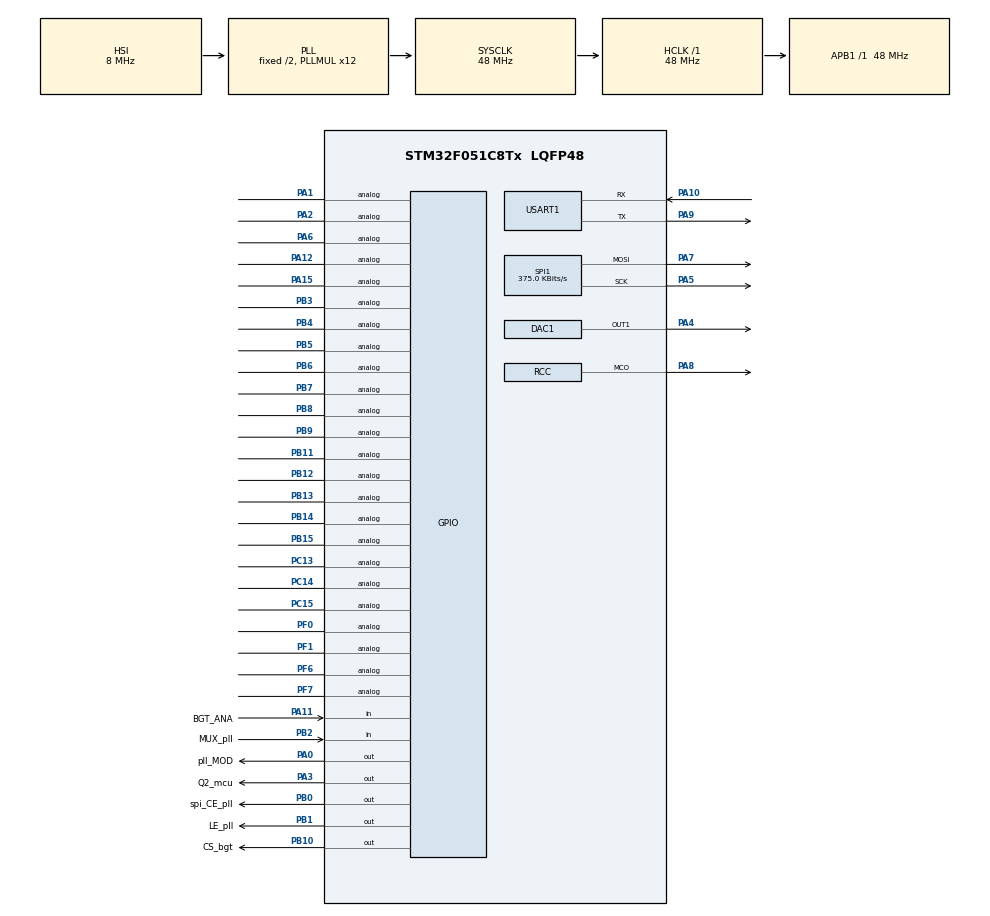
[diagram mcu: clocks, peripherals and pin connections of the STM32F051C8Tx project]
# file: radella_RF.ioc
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DAC1.DAC_Trigger=DAC_TRIGGER_NONE
Dma.Request0=SPI1_TX
Dma.SPI1_TX.0.Direction=DMA_MEMORY_TO_PERIPH
Dma.SPI1_TX.0.Instance=DMA1_Channel3
Dma.SPI1_TX.0.MemDataAlignment=DMA_MDATAALIGN_BYTE
Dma.SPI1_TX.0.MemInc=DMA_MINC_ENABLE
Dma.SPI1_TX.0.Mode=DMA_NORMAL
Dma.SPI1_TX.0.PeriphDataAlignment=DMA_PDATAALIGN_BYTE
Dma.SPI1_TX.0.PeriphInc=DMA_PINC_DISABLE
Dma.SPI1_TX.0.Priority=DMA_PRIORITY_LOW
Mcu.Family=STM32F0
Mcu.Name=STM32F051C8Tx
Mcu.Package=LQFP48
NVIC.DMA1_Channel2_3_IRQn=true\:0\:0\:false\:false\:true\:false\:true
PA0.GPIO_Label=pll_MOD
PA0.Signal=GPIO_Output
PA1.Signal=GPIO_Analog
PA10.Mode=Asynchronous
PA10.Signal=USART1_RX
PA11.GPIO_Label=BGT_ANA
PA11.Signal=GPIO_Input
PA12.Signal=GPIO_Analog
PA13.Mode=Serial_Wire
PA13.Signal=SYS_SWDIO
PA14.Mode=Serial_Wire
PA14.Signal=SYS_SWCLK
PA15.Signal=GPIO_Analog
PA2.Signal=GPIO_Analog
PA3.GPIO_Label=Q2_mcu
PA3.Signal=GPIO_Output
PA4.Signal=COMP_DAC11_group
PA5.Mode=TX_Only_Simplex_Unidirect_Master
PA5.Signal=SPI1_SCK
PA6.Signal=GPIO_Analog
PA7.Mode=TX_Only_Simplex_Unidirect_Master
PA7.Signal=SPI1_MOSI
PA8.Mode=Clock-out
PA8.Signal=RCC_MCO
PA9.Mode=Asynchronous
PA9.Signal=USART1_TX
PB0.GPIO_Label=spi_CE_pll
PB0.Signal=GPIO_Output
PB1.GPIO_Label=LE_pll
PB1.Signal=GPIO_Output
PB10.GPIO_Label=CS_bgt
PB10.Signal=GPIO_Output
PB11.Signal=GPIO_Analog
PB12.Signal=GPIO_Analog
PB13.Signal=GPIO_Analog
PB14.Signal=GPIO_Analog
PB15.Signal=GPIO_Analog
PB2.GPIO_Label=MUX_pll
PB2.Signal=GPIO_Input
PB3.Signal=GPIO_Analog
PB4.Signal=GPIO_Analog
PB5.Signal=GPIO_Analog
PB6.Signal=GPIO_Analog
PB7.Signal=GPIO_Analog
PB8.Signal=GPIO_Analog
PB9.Signal=GPIO_Analog
PC13.Signal=GPIO_Analog
PC14-OSC32_IN.Signal=GPIO_Analog
PC15-OSC32_OUT.Signal=GPIO_Analog
PF0-OSC_IN.Signal=GPIO_Analog
PF1-OSC_OUT.Signal=GPIO_Analog
PF6.Signal=GPIO_Analog
PF7.Signal=GPIO_Analog
ProjectManager.HeapSize=0x200
ProjectManager.StackSize=0x400
ProjectManager.TargetToolchain=Makefile
RCC.AHBFreq_Value=48000000
RCC.APB1Freq_Value=48000000
RCC.APB1TimFreq_Value=48000000
RCC.HCLKFreq_Value=48000000
RCC.HSE_VALUE=12000000
RCC.PLLMUL=RCC_PLL_MUL12
RCC.RCC_MCOSource=RCC_MCO1SOURCE_LSI
RCC.SYSCLKFreq_VALUE=48000000
RCC.SYSCLKSource=RCC_SYSCLKSOURCE_PLLCLK
SH.COMP_DAC11_group.0=DAC1_OUT1,DAC_OUT1
SPI1.BaudRatePrescaler=SPI_BAUDRATEPRESCALER_128
SPI1.CLKPhase=SPI_PHASE_1EDGE
SPI1.CLKPolarity=SPI_POLARITY_LOW
SPI1.CalculateBaudRate=375.0 KBits/s
SPI1.DataSize=SPI_DATASIZE_8BIT
SPI1.Direction=SPI_DIRECTION_2LINES
SPI1.FirstBit=SPI_FIRSTBIT_MSB
SPI1.Mode=SPI_MODE_MASTER
SPI1.VirtualType=VM_MASTER
USART1.VirtualMode-Asynchronous=VM_ASYNC
board=custom

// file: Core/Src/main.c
/* USER CODE BEGIN Header */
/**
  ******************************************************************************
  * @file           : main.c
  * @brief          : Main program body
  ******************************************************************************
  * @attention
  *
  * <h2><center>&copy; Copyright (c) 2021 STMicroelectronics.
  * All rights reserved.</center></h2>
  *
  * This software component is licensed by ST under BSD 3-Clause license,
  * the "License"; You may not use this file except in compliance with the
  * License. You may obtain a copy of the License at:
  *                        opensource.org/licenses/BSD-3-Clause
  *
  ******************************************************************************
  */
/* USER CODE END Header */

#include "main.h"
#include "dac.h"
#include "dma.h"
#include "spi.h"
#include "usart.h"
#include "gpio.h"

/* USER CODE BEGIN PV */
uint16_t reg = 0x0001;
/* USER CODE END PV */

void SystemClock_Config(void);
/* USER CODE BEGIN PFP */
void Delay_u(unsigned int T);
void BGT24MTR_reg(void);
void TEST(void);
void LMX2491_Soft_reset(void);
void LMX2491_write_reg(uint8_t value, uint8_t value1, uint8_t value2);
void LMX2491_singleTone(void);
void LMX2491_Saw(void);
/* USER CODE END PFP */

/* USER CODE BEGIN 0 */
void BGT24MTR_reg_init(void)
{
	uint16_t BGT_data1 = 0x5800;

	HAL_GPIO_WritePin(GPIOB, CS_bgt_Pin, GPIO_PIN_RESET);
	HAL_GPIO_WritePin(GPIOB, LE_pll_Pin, GPIO_PIN_SET);
	Delay_u(1000);

	//HAL_SPI_Transmit(&hspi1,(uint8_t*)&BGT_data1,sizeof(BGT_data2),100);
	HAL_SPI_Transmit(&hspi1, (uint8_t*)&BGT_data1, sizeof(BGT_data1), 100);
	Delay_u(1000);
	HAL_GPIO_WritePin(GPIOB, CS_bgt_Pin, GPIO_PIN_SET);
}
void TEST(void)
{
	HAL_GPIO_WritePin(GPIOA, pll_MOD_Pin, GPIO_PIN_SET);
	HAL_Delay(50);
	HAL_GPIO_WritePin(GPIOA, pll_MOD_Pin, GPIO_PIN_RESET);
	HAL_Delay(1);
}
void LMX2491_Soft_reset(void) // reset all registers in PLL
{
	uint8_t Data_reset1 = 0x00;
	uint8_t Data_reset2 = 0x02;
	uint8_t Data_reset3 = 0x05;
	HAL_GPIO_WritePin(GPIOB, LE_pll_Pin, GPIO_PIN_RESET);
	HAL_GPIO_WritePin(GPIOB, CS_bgt_Pin, GPIO_PIN_SET);
	Delay_u(10);
	HAL_SPI_Transmit(&hspi1, (uint8_t*)&Data_reset1, sizeof(Data_reset1), 1000);
	Delay_u(10);
	HAL_SPI_Transmit(&hspi1, (uint8_t*)&Data_reset2, sizeof(Data_reset2), 1000);
	Delay_u(10);
	HAL_SPI_Transmit(&hspi1, (uint8_t*)&Data_reset3, sizeof(Data_reset3), 1000);
	Delay_u(10);
	HAL_GPIO_WritePin(GPIOB, LE_pll_Pin, GPIO_PIN_SET);
}

/*void delay_us (uint16_t us)   // delay_um using tim2
{
	__HAL_TIM_SET_COUNTER(&htim2,0);
	while (__HAL_TIM_GET_COUNTER(&htim2) < us);
}*/

void Delay_u(unsigned int T) // delay_um without tim2
{
	T = T;
	while (T) {--T;}
}

void LMX2491_write_reg(uint8_t value, uint8_t value1, uint8_t value2) // write reg function to LMX2491
{
	value = value;
	value1 = value1;
	value2 = value2;
	HAL_GPIO_WritePin(GPIOB, LE_pll_Pin, GPIO_PIN_RESET);
	HAL_GPIO_WritePin(GPIOB, CS_bgt_Pin, GPIO_PIN_SET);
	Delay_u(100);
	HAL_SPI_Transmit(&hspi1, (uint8_t*)&value, sizeof(value), 100);
	Delay_u(100);
	HAL_SPI_Transmit(&hspi1, (uint8_t*)&value1, sizeof(value1), 100);
	Delay_u(100);
	HAL_SPI_Transmit(&hspi1, (uint8_t*)&value2, sizeof(value2), 100);
	Delay_u(100);
	HAL_GPIO_WritePin(GPIOB, LE_pll_Pin, GPIO_PIN_SET);
	Delay_u(1000);
}
void LMX2491_singleTone(void)     // this functions for check PLL spurs
{

	LMX2491_write_reg(0x00, 0x8D, 0x00);
	LMX2491_write_reg(0x00, 0x8C, 0x13);
	LMX2491_write_reg(0x00, 0x8B, 0x88);
	LMX2491_write_reg(0x00, 0x8A, 0x00);
	LMX2491_write_reg(0x00, 0x89, 0x00);
	LMX2491_write_reg(0x00, 0x88, 0x00);
	LMX2491_write_reg(0x00, 0x87, 0x00);
	LMX2491_write_reg(0x00, 0x86, 0x00);
	LMX2491_write_reg(0x00, 0x85, 0x13);
	LMX2491_write_reg(0x00, 0x84, 0x88);
	LMX2491_write_reg(0x00, 0x83, 0x00);
	LMX2491_write_reg(0x00, 0x82, 0x00);
	LMX2491_write_reg(0x00, 0x81, 0x00);
	LMX2491_write_reg(0x00, 0x80, 0x00);
	LMX2491_write_reg(0x00, 0x7F, 0x00);
	LMX2491_write_reg(0x00, 0x7E, 0x13);
	LMX2491_write_reg(0x00, 0x7D, 0x88);
	LMX2491_write_reg(0x00, 0x7C, 0x00);
	LMX2491_write_reg(0x00, 0x7B, 0x00);
	LMX2491_write_reg(0x00, 0x7A, 0x00);
	LMX2491_write_reg(0x00, 0x79, 0x00);
	LMX2491_write_reg(0x00, 0x78, 0x00);
	LMX2491_write_reg(0x00, 0x77, 0x13);
	LMX2491_write_reg(0x00, 0x76, 0x88);
	LMX2491_write_reg(0x00, 0x75, 0x00);
	LMX2491_write_reg(0x00, 0x74, 0x00);
	LMX2491_write_reg(0x00, 0x73, 0x00);
	LMX2491_write_reg(0x00, 0x72, 0x00);
	LMX2491_write_reg(0x00, 0x71, 0x00);
	LMX2491_write_reg(0x00, 0x70, 0xFF);
	LMX2491_write_reg(0x00, 0x6F, 0xFF);
	LMX2491_write_reg(0x00, 0x6E, 0x3F);
	LMX2491_write_reg(0x00, 0x6D, 0xFF);
	LMX2491_write_reg(0x00, 0x6C, 0xFF);
	LMX2491_write_reg(0x00, 0x6B, 0x00);
	LMX2491_write_reg(0x00, 0x6A, 0x00);
	LMX2491_write_reg(0x00, 0x69, 0xFF);
	LMX2491_write_reg(0x00, 0x68, 0xFF);
	LMX2491_write_reg(0x00, 0x67, 0x00);
	LMX2491_write_reg(0x00, 0x66, 0x00);
	LMX2491_write_reg(0x00, 0x65, 0x01);
	LMX2491_write_reg(0x00, 0x64, 0x00);
	LMX2491_write_reg(0x00, 0x63, 0x00);
	LMX2491_write_reg(0x00, 0x62, 0xC3);
	LMX2491_write_reg(0x00, 0x61, 0x50);
	LMX2491_write_reg(0x00, 0x60, 0x3F);
	LMX2491_write_reg(0x00, 0x5F, 0xFF);
	LMX2491_write_reg(0x00, 0x5E, 0xFF);
	LMX2491_write_reg(0x00, 0x5D, 0x7A);
	LMX2491_write_reg(0x00, 0x5C, 0x20);
	LMX2491_write_reg(0x00, 0x5B, 0xC3);
	LMX2491_write_reg(0x00, 0x5A, 0x50);
	LMX2491_write_reg(0x00, 0x59, 0x00);
	LMX2491_write_reg(0x00, 0x58, 0x00);
	LMX2491_write_reg(0x00, 0x57, 0x00);
	LMX2491_write_reg(0x00, 0x56, 0x86);
	LMX2491_write_reg(0x00, 0x55, 0x00);
	LMX2491_write_reg(0x00, 0x54, 0x00);
	LMX2491_write_reg(0x00, 0x53, 0x00);
	LMX2491_write_reg(0x00, 0x52, 0x01);
	LMX2491_write_reg(0x00, 0x51, 0x00);
	LMX2491_write_reg(0x00, 0x50, 0x00);
	LMX2491_write_reg(0x00, 0x4F, 0x00);
	LMX2491_write_reg(0x00, 0x4E, 0xFF);
	LMX2491_write_reg(0x00, 0x4D, 0x00);
	LMX2491_write_reg(0x00, 0x4C, 0x00);
	LMX2491_write_reg(0x00, 0x4B, 0x00);
	LMX2491_write_reg(0x00, 0x4A, 0x00);
	LMX2491_write_reg(0x00, 0x49, 0x00);
	LMX2491_write_reg(0x00, 0x48, 0x00);
	LMX2491_write_reg(0x00, 0x47, 0x00);
	LMX2491_write_reg(0x00, 0x46, 0x08);
	LMX2491_write_reg(0x00, 0x45, 0x01);
	LMX2491_write_reg(0x00, 0x44, 0x00);
	LMX2491_write_reg(0x00, 0x43, 0x00);
	LMX2491_write_reg(0x00, 0x42, 0x00);
	LMX2491_write_reg(0x00, 0x41, 0x00);
	LMX2491_write_reg(0x00, 0x40, 0x03);
	LMX2491_write_reg(0x00, 0x3F, 0x00);
	LMX2491_write_reg(0x00, 0x3E, 0x00);
	LMX2491_write_reg(0x00, 0x3D, 0x00);
	LMX2491_write_reg(0x00, 0x3C, 0x00);
	LMX2491_write_reg(0x00, 0x3B, 0x00);
	LMX2491_write_reg(0x00, 0x3A, 0x00);
	LMX2491_write_reg(0x00, 0x39, 0x00);
	LMX2491_write_reg(0x00, 0x2D, 0x00);
	LMX2491_write_reg(0x00, 0x2C, 0x00);
	LMX2491_write_reg(0x00, 0x2B, 0x00);
	LMX2491_write_reg(0x00, 0x2A, 0x00);
	LMX2491_write_reg(0x00, 0x29, 0x00);
	LMX2491_write_reg(0x00, 0x28, 0x00);
	LMX2491_write_reg(0x00, 0x27, 0x52);
	LMX2491_write_reg(0x00, 0x26, 0x42);
	LMX2491_write_reg(0x00, 0x25, 0x92);
	LMX2491_write_reg(0x00, 0x24, 0x4A);
	LMX2491_write_reg(0x00, 0x23, 0x41);
	LMX2491_write_reg(0x00, 0x22, 0x04);
	LMX2491_write_reg(0x00, 0x21, 0x20);
	LMX2491_write_reg(0x00, 0x20, 0x00);
	LMX2491_write_reg(0x00, 0x1F, 0x2A);
	LMX2491_write_reg(0x00, 0x1E, 0x06);
	LMX2491_write_reg(0x00, 0x1D, 0x00);
	LMX2491_write_reg(0x00, 0x1C, 0x1F);
	LMX2491_write_reg(0x00, 0x1B, 0x08);
	LMX2491_write_reg(0x00, 0x1A, 0x00);
	LMX2491_write_reg(0x00, 0x19, 0x02);
	LMX2491_write_reg(0x00, 0x18, 0x00);
	LMX2491_write_reg(0x00, 0x17, 0x01);
	LMX2491_write_reg(0x00, 0x16, 0xF4);
	LMX2491_write_reg(0x00, 0x15, 0x00);
	LMX2491_write_reg(0x00, 0x14, 0x00);
	LMX2491_write_reg(0x00, 0x13, 0x00);
	LMX2491_write_reg(0x00, 0x12, 0x2C);
	LMX2491_write_reg(0x00, 0x11, 0x00);
	LMX2491_write_reg(0x00, 0x10, 0x1E);
	LMX2491_write_reg(0x00, 0x0F, 0x00);
	LMX2491_write_reg(0x00, 0x0E, 0x00);
	LMX2491_write_reg(0x00, 0x0D, 0x00);
	LMX2491_write_reg(0x00, 0x0C, 0x00);
	LMX2491_write_reg(0x00, 0x0B, 0x00);
	LMX2491_write_reg(0x00, 0x0A, 0x00);
	LMX2491_write_reg(0x00, 0x09, 0x00);
	LMX2491_write_reg(0x00, 0x08, 0x00);
	LMX2491_write_reg(0x00, 0x07, 0x00);
	LMX2491_write_reg(0x00, 0x06, 0x00);
	LMX2491_write_reg(0x00, 0x05, 0x00);
	LMX2491_write_reg(0x00, 0x04, 0x00);
	LMX2491_write_reg(0x00, 0x03, 0x00);
	LMX2491_write_reg(0x00, 0x02, 0x01);
	LMX2491_write_reg(0x00, 0x01, 0x00);
	LMX2491_write_reg(0x00, 0x00, 0x18);
	Delay_u(1000);
}

void LMX2491_Saw(void)     // functions for Saw with frame period 40.96 which start  on strob impulse
{

	LMX2491_write_reg(0x00, 0x8D, 0x00);
	LMX2491_write_reg(0x00, 0x8C, 0x00);
	LMX2491_write_reg(0x00, 0x8B, 0xC8);
	LMX2491_write_reg(0x00, 0x8A, 0x00);
	LMX2491_write_reg(0x00, 0x89, 0x00);
	LMX2491_write_reg(0x00, 0x88, 0x00);
	LMX2491_write_reg(0x00, 0x87, 0x00);
	LMX2491_write_reg(0x00, 0x86, 0x00);
	LMX2491_write_reg(0x00, 0x85, 0x00);
	LMX2491_write_reg(0x00, 0x84, 0xC8);
	LMX2491_write_reg(0x00, 0x83, 0x00);
	LMX2491_write_reg(0x00, 0x82, 0x00);
	LMX2491_write_reg(0x00, 0x81, 0x00);
	LMX2491_write_reg(0x00, 0x80, 0x00);
	LMX2491_write_reg(0x00, 0x7F, 0x00);
	LMX2491_write_reg(0x00, 0x7E, 0x00);
	LMX2491_write_reg(0x00, 0x7D, 0xC8);
	LMX2491_write_reg(0x00, 0x7C, 0x00);
	LMX2491_write_reg(0x00, 0x7B, 0x00);
	LMX2491_write_reg(0x00, 0x7A, 0x00);
	LMX2491_write_reg(0x00, 0x79, 0x00);
	LMX2491_write_reg(0x00, 0x78, 0x00);
	LMX2491_write_reg(0x00, 0x77, 0x50);
	LMX2491_write_reg(0x00, 0x76, 0x00);
	LMX2491_write_reg(0x00, 0x75, 0x3F);
	LMX2491_write_reg(0x00, 0x74, 0xFF);
	LMX2491_write_reg(0x00, 0x73, 0xF0);
	LMX2491_write_reg(0x00, 0x72, 0x66);
	LMX2491_write_reg(0x00, 0x71, 0x80);
	LMX2491_write_reg(0x00, 0x70, 0x50);
	LMX2491_write_reg(0x00, 0x6F, 0x00);
	LMX2491_write_reg(0x00, 0x6E, 0x00);
	LMX2491_write_reg(0x00, 0x6D, 0x00);
	LMX2491_write_reg(0x00, 0x6C, 0x0F);
	LMX2491_write_reg(0x00, 0x6B, 0x9A);
	LMX2491_write_reg(0x00, 0x6A, 0x62);
	LMX2491_write_reg(0x00, 0x69, 0x50);
	LMX2491_write_reg(0x00, 0x68, 0x00);
	LMX2491_write_reg(0x00, 0x67, 0x3F);
	LMX2491_write_reg(0x00, 0x66, 0xFF);
	LMX2491_write_reg(0x00, 0x65, 0xEB);
	LMX2491_write_reg(0x00, 0x64, 0x33);
	LMX2491_write_reg(0x00, 0x63, 0x40);
	LMX2491_write_reg(0x00, 0x62, 0x50);
	LMX2491_write_reg(0x00, 0x61, 0x00);
	LMX2491_write_reg(0x00, 0x60, 0x00);
	LMX2491_write_reg(0x00, 0x5F, 0x00);
	LMX2491_write_reg(0x00, 0x5E, 0x14);
	LMX2491_write_reg(0x00, 0x5D, 0xCD);
	LMX2491_write_reg(0x00, 0x5C, 0x2D);
	LMX2491_write_reg(0x00, 0x5B, 0x50);
	LMX2491_write_reg(0x00, 0x5A, 0x00);
	LMX2491_write_reg(0x00, 0x59, 0x00);
	LMX2491_write_reg(0x00, 0x58, 0x00);
	LMX2491_write_reg(0x00, 0x57, 0x00);
	LMX2491_write_reg(0x00, 0x56, 0x00);
	LMX2491_write_reg(0x00, 0x55, 0x00);
	LMX2491_write_reg(0x00, 0x54, 0x00);
	LMX2491_write_reg(0x00, 0x53, 0x00);
	LMX2491_write_reg(0x00, 0x52, 0x18);
	LMX2491_write_reg(0x00, 0x51, 0x00);
	LMX2491_write_reg(0x00, 0x50, 0x00);
	LMX2491_write_reg(0x00, 0x4F, 0x00);
	LMX2491_write_reg(0x00, 0x4E, 0xFF);
	LMX2491_write_reg(0x00, 0x4D, 0x00);
	LMX2491_write_reg(0x00, 0x4C, 0x00);
	LMX2491_write_reg(0x00, 0x4B, 0x00);
	LMX2491_write_reg(0x00, 0x4A, 0x00);
	LMX2491_write_reg(0x00, 0x49, 0x00);
	LMX2491_write_reg(0x00, 0x48, 0x00);
	LMX2491_write_reg(0x00, 0x47, 0x00);
	LMX2491_write_reg(0x00, 0x46, 0x08);
	LMX2491_write_reg(0x00, 0x45, 0x01);
	LMX2491_write_reg(0x00, 0x44, 0x06);
	LMX2491_write_reg(0x00, 0x43, 0x80);
	LMX2491_write_reg(0x00, 0x42, 0x00);
	LMX2491_write_reg(0x00, 0x41, 0x00);
	LMX2491_write_reg(0x00, 0x40, 0x01);
	LMX2491_write_reg(0x00, 0x3F, 0x00);
	LMX2491_write_reg(0x00, 0x3E, 0x00);
	LMX2491_write_reg(0x00, 0x3D, 0x00);
	LMX2491_write_reg(0x00, 0x3C, 0x00);
	LMX2491_write_reg(0x00, 0x3B, 0x00);
	LMX2491_write_reg(0x00, 0x3A, 0x31);
	LMX2491_write_reg(0x00, 0x39, 0x00);
	LMX2491_write_reg(0x00, 0x2D, 0x00);
	LMX2491_write_reg(0x00, 0x2C, 0x00);
	LMX2491_write_reg(0x00, 0x2B, 0x00);
	LMX2491_write_reg(0x00, 0x2A, 0x00);
	LMX2491_write_reg(0x00, 0x29, 0x00);
	LMX2491_write_reg(0x00, 0x28, 0x00);
	LMX2491_write_reg(0x00, 0x27, 0x52);
	LMX2491_write_reg(0x00, 0x26, 0x1F);
	LMX2491_write_reg(0x00, 0x25, 0xFA);
	LMX2491_write_reg(0x00, 0x24, 0xF2);
	LMX2491_write_reg(0x00, 0x23, 0x41);
	LMX2491_write_reg(0x00, 0x22, 0xA4);
	LMX2491_write_reg(0x00, 0x21, 0x20);
	LMX2491_write_reg(0x00, 0x20, 0x00);
	LMX2491_write_reg(0x00, 0x1F, 0x2A);
	LMX2491_write_reg(0x00, 0x1E, 0x06);
	LMX2491_write_reg(0x00, 0x1D, 0x00);
	LMX2491_write_reg(0x00, 0x1C, 0x1F);
	LMX2491_write_reg(0x00, 0x1B, 0x08);
	LMX2491_write_reg(0x00, 0x1A, 0x00);
	LMX2491_write_reg(0x00, 0x19, 0x32);
	LMX2491_write_reg(0x00, 0x18, 0x00);
	LMX2491_write_reg(0x00, 0x17, 0x00);
	LMX2491_write_reg(0x00, 0x16, 0x00);
	LMX2491_write_reg(0x00, 0x15, 0x00);
	LMX2491_write_reg(0x00, 0x14, 0x00);
	LMX2491_write_reg(0x00, 0x13, 0x00);
	LMX2491_write_reg(0x00, 0x12, 0x2C);
	LMX2491_write_reg(0x00, 0x11, 0x02);
	LMX2491_write_reg(0x00, 0x10, 0xEF);
	LMX2491_write_reg(0x00, 0x0F, 0x00);
	LMX2491_write_reg(0x00, 0x0E, 0x00);
	LMX2491_write_reg(0x00, 0x0D, 0x00);
	LMX2491_write_reg(0x00, 0x0C, 0x00);
	LMX2491_write_reg(0x00, 0x0B, 0x00);
	LMX2491_write_reg(0x00, 0x0A, 0x00);
	LMX2491_write_reg(0x00, 0x09, 0x00);
	LMX2491_write_reg(0x00, 0x08, 0x00);
	LMX2491_write_reg(0x00, 0x07, 0x00);
	LMX2491_write_reg(0x00, 0x06, 0x00);
	LMX2491_write_reg(0x00, 0x05, 0x00);
	LMX2491_write_reg(0x00, 0x04, 0x00);
	LMX2491_write_reg(0x00, 0x03, 0x00);
	LMX2491_write_reg(0x00, 0x02, 0x01);
	LMX2491_write_reg(0x00, 0x01, 0x00);
	LMX2491_write_reg(0x00, 0x00, 0x18);
	Delay_u(1000);
}
/* USER CODE END 0 */

int main(void)
{

  /* MCU Configuration--------------------------------------------------------*/

  /* Reset of all peripherals, Initializes the Flash interface and the Systick. */
  HAL_Init();

  /* Configure the system clock */
  SystemClock_Config();

  /* Initialize all configured peripherals */
  MX_GPIO_Init();
  MX_DMA_Init();
  MX_SPI1_Init();
  MX_USART1_UART_Init();
  MX_DAC1_Init();
  /* USER CODE BEGIN 2 */
	LMX2491_Saw();
	HAL_Delay(500);
	SPI1->CR1 &= ~SPI_CR1_SPE;  // disable SPI
	HAL_Delay(500);
	SPI1->CR1 |= SPI_CR1_CPHA;  // reverse cpha
	HAL_Delay(500);
	SPI1->CR1 &= SPI_CR1_SPE;   // enable SPI
	HAL_Delay(500);
	BGT24MTR_reg_init();
  /* USER CODE END 2 */

  /* Infinite loop */
  /* USER CODE BEGIN WHILE */
  while (1)
  {
	  HAL_SPI_Transmit(&hspi1, (uint8_t*)&reg, sizeof(reg), 100);
	  //TEST();
    /* USER CODE END WHILE */

  }
}

void SystemClock_Config(void)
{
  RCC_OscInitTypeDef RCC_OscInitStruct = {0};
  RCC_ClkInitTypeDef RCC_ClkInitStruct = {0};
  RCC_PeriphCLKInitTypeDef PeriphClkInit = {0};

  /** Initializes the CPU, AHB and APB busses clocks
  */
  RCC_OscInitStruct.OscillatorType = RCC_OSCILLATORTYPE_HSI|RCC_OSCILLATORTYPE_LSI;
  RCC_OscInitStruct.HSIState = RCC_HSI_ON;
  RCC_OscInitStruct.HSICalibrationValue = RCC_HSICALIBRATION_DEFAULT;
  RCC_OscInitStruct.LSIState = RCC_LSI_ON;
  RCC_OscInitStruct.PLL.PLLState = RCC_PLL_ON;
  RCC_OscInitStruct.PLL.PLLSource = RCC_PLLSOURCE_HSI;
  RCC_OscInitStruct.PLL.PLLMUL = RCC_PLL_MUL12;
  RCC_OscInitStruct.PLL.PREDIV = RCC_PREDIV_DIV1;
  if (HAL_RCC_OscConfig(&RCC_OscInitStruct) != HAL_OK)
  {
    Error_Handler();
  }
  /** Initializes the CPU, AHB and APB busses clocks
  */
  RCC_ClkInitStruct.ClockType = RCC_CLOCKTYPE_HCLK|RCC_CLOCKTYPE_SYSCLK
                              |RCC_CLOCKTYPE_PCLK1;
  RCC_ClkInitStruct.SYSCLKSource = RCC_SYSCLKSOURCE_PLLCLK;
  RCC_ClkInitStruct.AHBCLKDivider = RCC_SYSCLK_DIV1;
  RCC_ClkInitStruct.APB1CLKDivider = RCC_HCLK_DIV1;

  if (HAL_RCC_ClockConfig(&RCC_ClkInitStruct, FLASH_LATENCY_1) != HAL_OK)
  {
    Error_Handler();
  }
  PeriphClkInit.PeriphClockSelection = RCC_PERIPHCLK_USART1;
  PeriphClkInit.Usart1ClockSelection = RCC_USART1CLKSOURCE_PCLK1;
  if (HAL_RCCEx_PeriphCLKConfig(&PeriphClkInit) != HAL_OK)
  {
    Error_Handler();
  }
  HAL_RCC_MCOConfig(RCC_MCO, RCC_MCO1SOURCE_LSI, RCC_MCODIV_1);
}

void Error_Handler(void)
{
}

/************************ (C) COPYRIGHT STMicroelectronics *****END OF FILE****/
